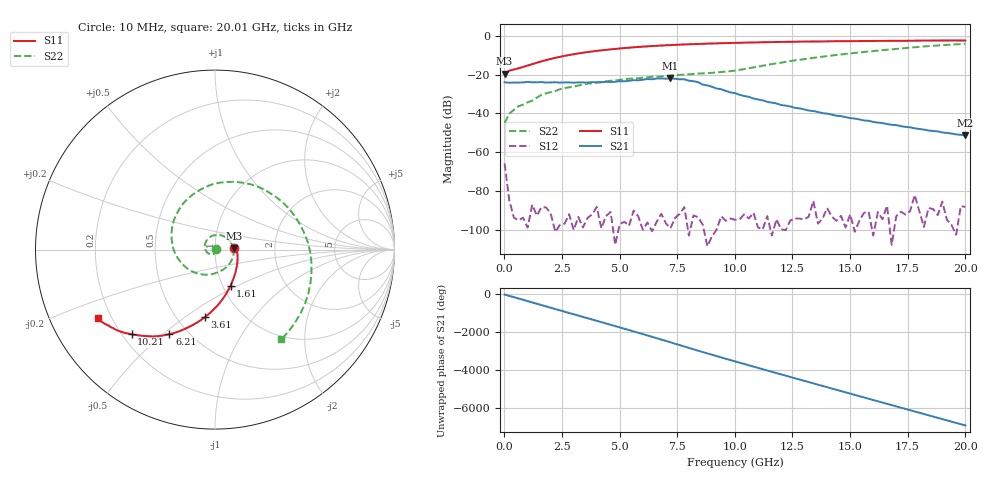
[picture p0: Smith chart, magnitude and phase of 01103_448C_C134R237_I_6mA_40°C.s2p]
!;Filter: kein Filter
!auto
!3/21/2019 9:27:54 AM
!3/21/2019 9:28:10 AM
!SP-Measurements Prober G4
!SP-Measurements Prober G4
!01103_448C
!134
!237
!12
!40
!-20
!0.00599970
!2.02
!0.74959551
!0.74959551
# Hz S  RI  R 50
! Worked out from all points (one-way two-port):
!   101 points, 10 MHz to 20.01 GHz, reference 50 ohm
!   highest |S21| = -21.85 dB at 7.21 GHz (marker M1); lowest = -51.4 dB at 20.01 GHz (marker M2)
!   lowest |S11| = -19.5 dB at 10 MHz (marker M3), VSWR 1.24, Z = 61.8 + j0.932 ohm
!   |S11| at or under -10 dB: start of sweep to 2.767 GHz
!   |S22| runs from -44.9 to -4.1 dB; largest |S21 - S12| = 0.081
!   S11 on the Smith chart (normalised r, x): 10 MHz: 1.24, +0.02; 1.61 GHz: 1.09, -0.46; 3.61 GHz: 0.68, -0.60; 6.21 GHz: 0.40, -0.53; 10.21 GHz: 0.24, -0.40; 20.01 GHz: 0.15, -0.26
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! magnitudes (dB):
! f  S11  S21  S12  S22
! 10 MHz  -19.5  -24.0  -65.9  -44.9
! 210 MHz  -18.0  -24.2  -84.7  -40.2
! 610 MHz  -16.8  -24.1  -95.2  -36.3
! 1.21 GHz  -14.6  -24.0  -87.1  -33.5
! 1.61 GHz  -13.2  -23.9  -88.4  -30.5
! 2.61 GHz  -10.4  -24.0  -97.0  -27.0
! 3.41 GHz  -8.7  -24.1  -98.9  -25.1
! 3.61 GHz  -8.4  -24.1  -94.0  -24.7
! 5.21 GHz  -6.3  -23.5  -96.0  -22.4
! 6.21 GHz  -5.4  -22.3  -96.3  -21.4
! 6.81 GHz  -5.0  -22.0  -91.9  -20.9
! 7.21 GHz  -4.8  -21.9  -99.3  -20.5
! 7.81 GHz  -4.5  -22.4  -88.4  -20.0
! 8.41 GHz  -4.2  -23.9  -93.7  -19.5
! 8.61 GHz  -4.1  -25.2  -97.5  -19.4
! 10.01 GHz  -3.6  -29.6  -94.9  -18.0
! 10.21 GHz  -3.6  -30.4  -94.7  -17.6
! 12.01 GHz  -3.2  -35.7  -99.8  -13.9
! 13.41 GHz  -2.9  -38.8  -85.2  -11.4
! 15.01 GHz  -2.8  -42.5  -92.2  -9.1
! 16.81 GHz  -2.6  -45.9  -107.9  -7.0
! 20.01 GHz  -2.4  -51.4  -88.3  -4.1
